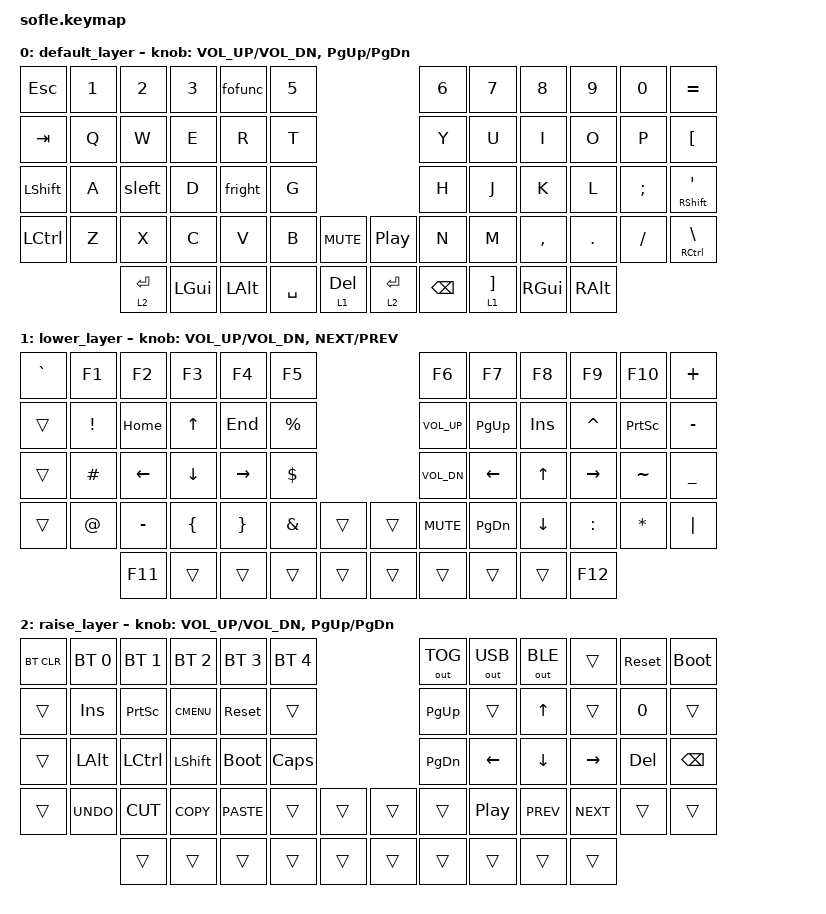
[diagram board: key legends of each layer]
/*
 * Copyright (c) 2020 The ZMK Contributors
 *
 * SPDX-License-Identifier: MIT
 */

#define QW 0
#define LW 1
#define RS 2

#include <behaviors.dtsi>
#include <dt-bindings/zmk/keys.h>
#include <dt-bindings/zmk/bt.h>
#include <dt-bindings/zmk/outputs.h>

/ {
    combos {
        compatible = "zmk,combos";
        combo_dsklg {
            timeout-ms = <100>;
            key-positions = <24 50>;
            layers = <0>;
            bindings = <&kp LGUI>;
        };        
    };

    behaviors {
        fofunc: four_ffour {
            compatible = "zmk,behavior-mod-morph";
            label = "FOUR_FUNCFOUR";
            #binding-cells = <0>;
            bindings = <&kp N4>, <&kp F4>;
            mods = <(MOD_LALT|MOD_RALT)>;
        };
        sleft: s_left {
            compatible = "zmk,behavior-mod-morph";
            label = "S_LEFT";
            #binding-cells = <0>;
            bindings = <&kp S>, <&kp LEFT>;
            mods = <(MOD_LGUI|MOD_RGUI)>;
        };
        fright: f_right {
            compatible = "zmk,behavior-mod-morph";
            label = "R_RIGHT";
            #binding-cells = <0>;
            bindings = <&kp F>, <&kp RIGHT>;
            mods = <(MOD_LGUI|MOD_RGUI)>;
        };
    };

    keymap {
        compatible = "zmk,keymap";

        default_layer {
//       0      1     2      3      4      5                          6      7       8       9      10      11    
//   ------------------------------------------------------------------------------------------------------------
//  0|  ESC  |  1  |  2   |  3  |  4   |  5   |                     |  6   |  7    |  8    |  9   |   0   |   =   | 11
// 12|  TAB  |  Q  |  W   |  E  |  R   |  T   |                     |  Y   |  U    |  I    |  O   |   P   |   [   | 23
// 24|  SFT  |  A  |  S   |  D  |  F   |  G   |                     |  H   |  J    |  K    |  L   |   ;   | ' SFT | 35
// 36|  CTRL |  Z  |  X   |  C  |  V   |  B   |  MUTE   |  |  PLAY  |  N   |  M    |  ,    |  .   |   /   | \ CTRL| 49
// 50              |RS ENT| GUI | ALT  |SPACE |DELETE LW|  |ENTER RS| BSPC | ] LW  |  GUI  | ALT  |                 59
            bindings = <
&kp ESC   &kp N1 &kp N2    &kp N3     &fofunc   &kp N5                                 &kp N6    &kp N7      &kp N8    &kp N9   &kp N0   &kp EQUAL
&kp TAB   &kp Q  &kp W     &kp E      &kp R     &kp T                                  &kp Y     &kp U       &kp I     &kp O    &kp P    &kp LBKT
&kp LSHFT &kp A  &sleft    &kp D      &fright   &kp G                                  &kp H     &kp J       &kp K     &kp L    &kp SEMI &mt RSHFT SQT
&kp LCTRL &kp Z  &kp X     &kp C      &kp V     &kp B      &kp C_MUTE       &kp C_PP   &kp N     &kp M       &kp COMMA &kp DOT  &kp FSLH &mt RCTRL BSLH
                 &lt 2 RET &kp LGUI   &kp LALT  &kp SPACE  &lt 1 DEL        &lt 2 RET  &kp BSPC  &lt 1 RBKT  &kp RGUI  &kp RALT
            >;

            sensor-bindings = <&inc_dec_kp C_VOL_UP C_VOL_DN &inc_dec_kp PG_UP PG_DN>;
        };

        lower_layer {
// TODO: Some binds are waiting for shifted keycode support.
// ------------------------------------------------------------------------------------------------------------
// | `     |  F1 |  F2 |  F3  |  F4  |  F5  |                   |  F6  |  F7   |  F8   |  F9  |  F10  |  F11  |
// |       |  !  | HOME|   ^  |  END |  %   |                   | VOL^ |  PGUP |  INS  |  ^   |  PSCR |   -   |
// |       |  #  |  <- |   v  | ->   |  $   |                   | VOLv |    <- |   ^   |  ->  |   ~   |   _   |
// |       |  @  |  -  |  (   |  )   |  &   |        |  |       | MUTE |  PGDN |   v   |  :   |   *   |   |   |
//               |  F11|      |      |      |        |  |       |      |       |       |  F12 |       
            bindings = <
&kp GRAVE  &kp F1    &kp F2    &kp F3      &kp F4     &kp F5                     &kp F6        &kp F7     &kp F8    &kp F9     &kp F10   &kp PLUS
&trans     &kp EXCL  &kp HOME  &kp UP      &kp END    &kp PRCNT                  &kp C_VOL_UP  &kp PG_UP  &kp INS   &kp CARET  &kp PSCRN &kp MINUS
&trans     &kp HASH  &kp LEFT  &kp DOWN    &kp RIGHT  &kp DLLR                   &kp C_VOL_DN  &kp LEFT   &kp UP    &kp RIGHT  &kp TILDE &kp UNDER
&trans     &kp AT    &kp MINUS &kp LBRC    &kp RBRC   &kp AMPS  &trans   &trans  &kp C_MUTE    &kp PG_DN  &kp DOWN  &kp COLON  &kp STAR  &kp PIPE
                     &kp F11   &trans      &trans     &trans    &trans   &trans  &trans        &trans     &trans    &kp F12
            >;

            sensor-bindings = <&inc_dec_kp C_VOL_UP C_VOL_DN &inc_dec_kp C_NEXT C_PREV>;
        };

        raise_layer {
// ------------------------------------------------------------------------------------------------------------
// |BTCLR| BT1  | BT2  |  BT3  |  BT4  |  BT5 |                |OUTTOG|OUTUSB| OUTBT |      |       |       |
// |     | INS  | PSCR | GUI   | RESET |      |                | PGUP |      |   ^   |      |       |       |
// |     | ALT  | CTRL | SHIFT | FLASH | CAPS |                | PGDN |   <- |   v   |  ->  |  DEL  | BSPC  |
// |     | UNDO | CUT  | COPY  | PASTE |      |      |  |      |      |  |>  |  <|<| | |>|> |       |       |
//              |      |       |       |      |      |  |      |      |      |       |      |
            bindings = <
&bt BT_CLR &bt BT_SEL 0 &bt BT_SEL 1 &bt BT_SEL 2 &bt BT_SEL 3 &bt BT_SEL 4                  &out OUT_TOG  &out OUT_USB  &out OUT_BLE  &trans     &sys_reset &bootloader
&trans     &kp INS      &kp PSCRN    &kp K_CMENU  &sys_reset   &trans                        &kp PG_UP     &trans        &kp UP        &trans     &kp N0  &trans
&trans     &kp LALT     &kp LCTRL    &kp LSHFT    &bootloader  &kp CLCK                      &kp PG_DN     &kp LEFT      &kp DOWN      &kp RIGHT  &kp DEL &kp BSPC
&trans     &kp K_UNDO   &kp K_CUT    &kp K_COPY   &kp K_PASTE  &trans       &trans   &trans  &trans        &kp C_PP      &kp C_PREV    &kp C_NEXT &trans  &trans
                        &trans       &trans       &trans       &trans       &trans   &trans  &trans        &trans        &trans        &trans
            >;

            sensor-bindings = <&inc_dec_kp C_VOL_UP C_VOL_DN &inc_dec_kp PG_UP PG_DN>;
        };
    };
};
